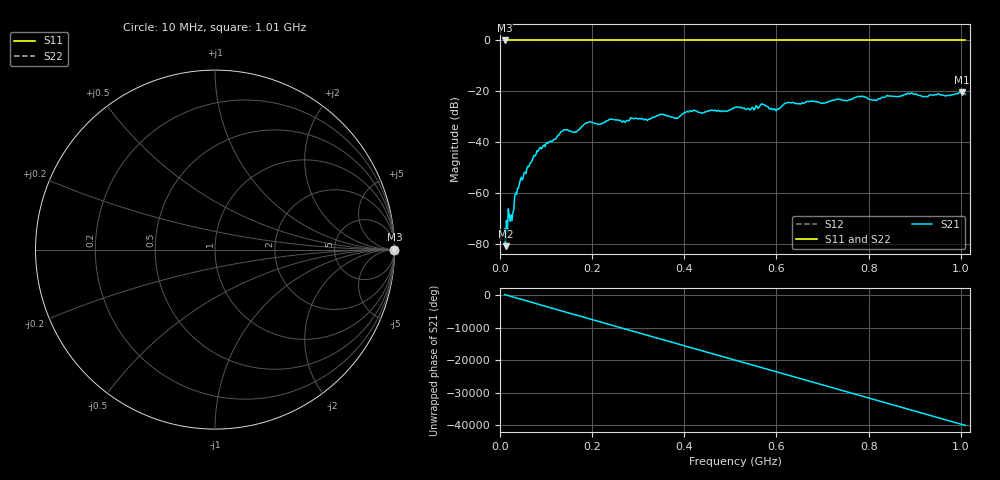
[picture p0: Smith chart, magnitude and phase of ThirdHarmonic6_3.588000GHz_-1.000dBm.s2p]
! 8/17/2025 11:56:01 AM
! C:\ANRITSUVNA\TEMP\TEMP.S2P
! CHANNEL.1
! TR.MEASUREMENT
! RAW.DATA
! RF.CORRECTION.OFF
! AVERAGING.OFF
! IF.BANDWIDTH: 5KHZ
! SWEEPTYPE:  FREQ.SWEEP(Linear)
! Reference Plane Port Info
! PORT:  PORT1  PORT2
! DISTANCE:  0  m  0  m
! TIME:  0  s  0  s
! PHASE.OFFSET:  0  deg.  0  deg.
! LOSS:  0  dB  0  dB
! REF.LOSS:  0  dB  0  dB
! REF.FREQ:  0  Hz  0  Hz
! Power Info
! POWER:  -20  dBm  -20  dBm
! EFF.POWER:  -20  dBm  -20  dBm
! SOURCE.ATTEN:  0  dB  0  dB
! TEST.ATTEN:  0  dB  0  dB
# GHZ S RI R 50.0
! FREQ.GHZ  S11RE  S11IM  S21RE  S21IM  S12RE  S12IM  S22RE  S22IM
!; PortSelection: Port_12
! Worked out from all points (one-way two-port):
!   501 points, 10 MHz to 1.01 GHz, reference 50 ohm
!   highest |S21| = -20.40 dB at 1.002 GHz (marker M1); lowest = -81.0 dB at 12 MHz (marker M2)
!   lowest |S11| = 0.0 dB at 10 MHz (marker M3)
!   |S11| at or under -10 dB: nowhere
!   |S22| runs from 0.0 to 0.0 dB; largest |S21 - S12| = 1.1
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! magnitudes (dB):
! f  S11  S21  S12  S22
! 10 MHz  0.0  -74.2  0.0  0.0
! 12 MHz  0.0  -81.0  0.0  0.0
! 18 MHz  0.0  -66.3  0.0  0.0
! 26 MHz  0.0  -71.0  0.0  0.0
! 36 MHz  0.0  -60.7  0.0  0.0
! 42 MHz  0.0  -56.5  0.0  0.0
! 84 MHz  0.0  -43.1  0.0  0.0
! 136 MHz  0.0  -35.6  0.0  0.0
! 162 MHz  0.0  -36.0  0.0  0.0
! 178 MHz  0.0  -33.8  0.0  0.0
! 344 MHz  0.0  -29.6  0.0  0.0
! 382 MHz  0.0  -30.4  0.0  0.0
! 410 MHz  0.0  -28.1  0.0  0.0
! 510 MHz  0.0  -26.4  0.0  0.0
! 570 MHz  0.0  -25.1  0.0  0.0
! 602 MHz  0.0  -27.0  0.0  0.0
! 622 MHz  0.0  -24.6  0.0  0.0
! 678 MHz  0.0  -24.0  0.0  0.0
! 814 MHz  0.0  -23.5  0.0  0.0
! 844 MHz  0.0  -21.9  0.0  0.0
! 1.002 GHz  0.0  -20.4  0.0  0.0
! 1.01 GHz  0.0  -21.1  0.0  0.0
